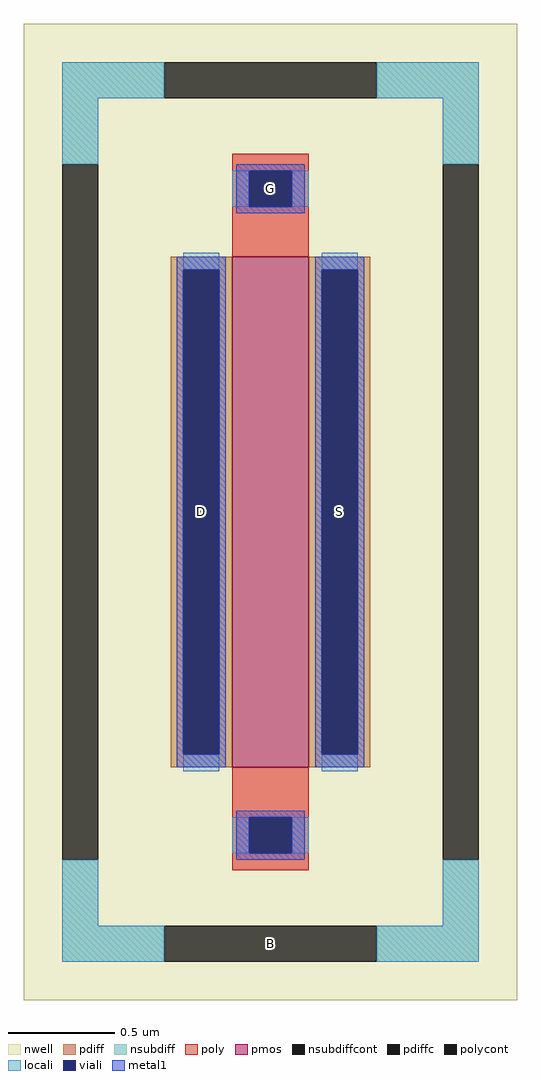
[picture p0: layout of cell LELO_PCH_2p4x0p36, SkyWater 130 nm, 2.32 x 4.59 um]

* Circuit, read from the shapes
.subckt LELO_PCH_2p4x0p36 D G S B
XM1 S G D B sky130_fd_pr__pfet_01v8 w=2.4 l=0.36
.ends

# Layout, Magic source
magic
tech sky130A
magscale 1 2
<< nwell >>
rect -232 -459 232 459
<< pmos >>
rect -36 -240 36 240
<< pdiff >>
rect -94 228 -36 240
rect -94 -228 -82 228
rect -48 -228 -36 228
rect -94 -240 -36 -228
rect 36 228 94 240
rect 36 -228 48 228
rect 82 -228 94 228
rect 36 -240 94 -228
<< pdiffc >>
rect -82 -228 -48 228
rect 48 -228 82 228
<< nsubdiff >>
rect -196 389 -100 423
rect 100 389 196 423
rect -196 327 -162 389
rect 162 327 196 389
rect -196 -389 -162 -327
rect 162 -389 196 -327
rect -196 -423 -100 -389
rect 100 -423 196 -389
<< nsubdiffcont >>
rect -100 389 100 423
rect -196 -327 -162 327
rect 162 -327 196 327
rect -100 -423 100 -389
<< poly >>
rect -36 321 36 337
rect -36 287 -20 321
rect 20 287 36 321
rect -36 240 36 287
rect -36 -287 36 -240
rect -36 -321 -20 -287
rect 20 -321 36 -287
rect -36 -337 36 -321
<< polycont >>
rect -20 287 20 321
rect -20 -321 20 -287
<< locali >>
rect -196 389 -100 423
rect 100 389 196 423
rect -196 327 -162 389
rect 162 327 196 389
rect -36 287 -20 321
rect 20 287 36 321
rect -82 228 -48 244
rect -82 -244 -48 -228
rect 48 228 82 244
rect 48 -244 82 -228
rect -36 -321 -20 -287
rect 20 -321 36 -287
rect -196 -389 -162 -327
rect 162 -389 196 -327
rect -196 -423 -100 -389
rect 100 -423 196 -389
<< viali >>
rect -20 287 20 321
rect -82 -228 -48 228
rect 48 -228 82 228
rect -20 -321 20 -287
<< metal1 >>
rect -32 321 32 327
rect -32 287 -20 321
rect 20 287 32 321
rect -32 281 32 287
rect -88 228 -42 240
rect -88 -228 -82 228
rect -48 -228 -42 228
rect -88 -240 -42 -228
rect 42 228 88 240
rect 42 -228 48 228
rect 82 -228 88 228
rect 42 -240 88 -228
rect -32 -287 32 -281
rect -32 -321 -20 -287
rect 20 -321 32 -287
rect -32 -327 32 -321
<< labels >>
flabel locali s -4 -410 4 -402 0 FreeSans 200 0 0 0 B
port 4 nsew
flabel metal1 s -69 -4 -61 4 0 FreeSans 200 0 0 0 D
port 1 nsew
flabel metal1 s 61 -4 69 4 0 FreeSans 200 0 0 0 S
port 3 nsew
flabel metal1 s -4 300 4 308 0 FreeSans 200 0 0 0 G
port 2 nsew
<< properties >>
string FIXED_BBOX -179 -406 179 406
<< end >>
